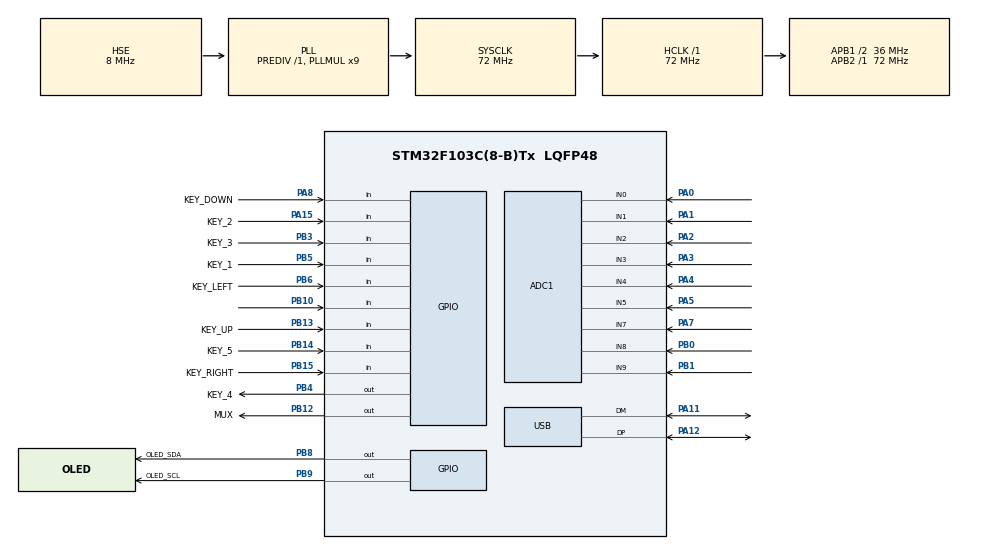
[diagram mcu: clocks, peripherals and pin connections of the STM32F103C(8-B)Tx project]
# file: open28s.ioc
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ADC1.Channel-0\#ChannelRegularConversion=ADC_CHANNEL_0
ADC1.Channel-1\#ChannelRegularConversion=ADC_CHANNEL_1
ADC1.Channel-2\#ChannelRegularConversion=ADC_CHANNEL_2
ADC1.Channel-3\#ChannelRegularConversion=ADC_CHANNEL_3
ADC1.Channel-4\#ChannelRegularConversion=ADC_CHANNEL_4
ADC1.Channel-5\#ChannelRegularConversion=ADC_CHANNEL_5
ADC1.Channel-6\#ChannelRegularConversion=ADC_CHANNEL_7
ADC1.Channel-7\#ChannelRegularConversion=ADC_CHANNEL_8
ADC1.Channel-8\#ChannelRegularConversion=ADC_CHANNEL_9
ADC1.ContinuousConvMode=ENABLE
ADC1.NbrOfConversion=9
ADC1.NbrOfConversionFlag=1
ADC1.Rank-0\#ChannelRegularConversion=1
ADC1.Rank-1\#ChannelRegularConversion=2
ADC1.Rank-2\#ChannelRegularConversion=3
ADC1.Rank-3\#ChannelRegularConversion=4
ADC1.Rank-4\#ChannelRegularConversion=5
ADC1.Rank-5\#ChannelRegularConversion=6
ADC1.Rank-6\#ChannelRegularConversion=7
ADC1.Rank-7\#ChannelRegularConversion=8
ADC1.Rank-8\#ChannelRegularConversion=9
ADC1.SamplingTime-0\#ChannelRegularConversion=ADC_SAMPLETIME_28CYCLES_5
ADC1.SamplingTime-1\#ChannelRegularConversion=ADC_SAMPLETIME_28CYCLES_5
ADC1.SamplingTime-2\#ChannelRegularConversion=ADC_SAMPLETIME_28CYCLES_5
ADC1.SamplingTime-3\#ChannelRegularConversion=ADC_SAMPLETIME_28CYCLES_5
ADC1.SamplingTime-4\#ChannelRegularConversion=ADC_SAMPLETIME_28CYCLES_5
ADC1.SamplingTime-5\#ChannelRegularConversion=ADC_SAMPLETIME_28CYCLES_5
ADC1.SamplingTime-6\#ChannelRegularConversion=ADC_SAMPLETIME_28CYCLES_5
ADC1.SamplingTime-7\#ChannelRegularConversion=ADC_SAMPLETIME_28CYCLES_5
ADC1.SamplingTime-8\#ChannelRegularConversion=ADC_SAMPLETIME_28CYCLES_5
ADC1.master=1
Dma.ADC1.0.Direction=DMA_PERIPH_TO_MEMORY
Dma.ADC1.0.Instance=DMA1_Channel1
Dma.ADC1.0.MemDataAlignment=DMA_MDATAALIGN_WORD
Dma.ADC1.0.MemInc=DMA_MINC_ENABLE
Dma.ADC1.0.Mode=DMA_CIRCULAR
Dma.ADC1.0.PeriphDataAlignment=DMA_PDATAALIGN_HALFWORD
Dma.ADC1.0.PeriphInc=DMA_PINC_DISABLE
Dma.ADC1.0.Priority=DMA_PRIORITY_LOW
Dma.Request0=ADC1
Mcu.Family=STM32F1
Mcu.Name=STM32F103C(8-B)Tx
Mcu.Package=LQFP48
NVIC.DMA1_Channel1_IRQn=true\:0\:0\:false\:false\:true\:false\:true\:true
NVIC.PriorityGroup=NVIC_PRIORITYGROUP_4
NVIC.TIM3_IRQn=true\:2\:0\:true\:false\:true\:true\:true\:true
NVIC.TIM4_IRQn=true\:1\:0\:true\:false\:true\:true\:true\:true
NVIC.USB_LP_CAN1_RX0_IRQn=true\:0\:0\:false\:false\:false\:true\:false\:true
PA0-WKUP.Signal=ADCx_IN0
PA1.Signal=ADCx_IN1
PA11.Mode=Device
PA11.Signal=USB_DM
PA12.Mode=Device
PA12.Signal=USB_DP
PA13.Mode=Serial_Wire
PA13.Signal=SYS_JTMS-SWDIO
PA14.Mode=Serial_Wire
PA14.Signal=SYS_JTCK-SWCLK
PA15.GPIO_Label=KEY_2
PA15.Signal=GPIO_Input
PA2.Signal=ADCx_IN2
PA3.Signal=ADCx_IN3
PA4.Signal=ADCx_IN4
PA5.Signal=ADCx_IN5
PA7.Signal=ADCx_IN7
PA8.GPIO_Label=KEY_DOWN
PA8.Signal=GPIO_Input
PB0.Signal=ADCx_IN8
PB1.Signal=ADCx_IN9
PB10.Signal=GPIO_Input
PB12.GPIO_Label=MUX
PB12.Signal=GPIO_Output
PB13.GPIO_Label=KEY_UP
PB13.Signal=GPIO_Input
PB14.GPIO_Label=KEY_5
PB14.Signal=GPIO_Input
PB15.GPIO_Label=KEY_RIGHT
PB15.Signal=GPIO_Input
PB3.GPIO_Label=KEY_3
PB3.Signal=GPIO_Input
PB4.GPIO_Label=KEY_4
PB4.Signal=GPIO_Output
PB5.GPIO_Label=KEY_1
PB5.Signal=GPIO_Input
PB6.GPIO_Label=KEY_LEFT
PB6.Signal=GPIO_Input
PB8.GPIO_Label=OLED_SDA
PB8.Signal=GPIO_Output
PB9.GPIO_Label=OLED_SCL
PB9.Signal=GPIO_Output
PD0-OSC_IN.Mode=HSE-External-Oscillator
PD0-OSC_IN.Signal=RCC_OSC_IN
PD1-OSC_OUT.Mode=HSE-External-Oscillator
PD1-OSC_OUT.Signal=RCC_OSC_OUT
ProjectManager.HeapSize=0x200
ProjectManager.StackSize=0x400
ProjectManager.TargetToolchain=CMake
RCC.ADCPresc=RCC_ADCPCLK2_DIV6
RCC.AHBFreq_Value=72000000
RCC.APB1CLKDivider=RCC_HCLK_DIV2
RCC.APB1Freq_Value=36000000
RCC.APB1TimFreq_Value=72000000
RCC.APB2Freq_Value=72000000
RCC.APB2TimFreq_Value=72000000
RCC.HCLKFreq_Value=72000000
RCC.PLLMUL=RCC_PLL_MUL9
RCC.PLLSourceVirtual=RCC_PLLSOURCE_HSE
RCC.SYSCLKFreq_VALUE=72000000
RCC.SYSCLKSource=RCC_SYSCLKSOURCE_PLLCLK
RCC.USBFreq_Value=48000000
RCC.USBPrescaler=RCC_USBCLKSOURCE_PLL_DIV1_5
SH.ADCx_IN0.0=ADC1_IN0,IN0
SH.ADCx_IN1.0=ADC1_IN1,IN1
SH.ADCx_IN2.0=ADC1_IN2,IN2
SH.ADCx_IN3.0=ADC1_IN3,IN3
SH.ADCx_IN4.0=ADC1_IN4,IN4
SH.ADCx_IN5.0=ADC1_IN5,IN5
SH.ADCx_IN7.0=ADC1_IN7,IN7
SH.ADCx_IN8.0=ADC1_IN8,IN8
SH.ADCx_IN9.0=ADC1_IN9,IN9
TIM3.Period=10000-1
TIM3.Prescaler=120-1
TIM4.AutoReloadPreload=TIM_AUTORELOAD_PRELOAD_ENABLE
TIM4.Period=10-1
TIM4.Prescaler=3600-1
VP_TIM3_VS_ClockSourceINT.Mode=Internal
VP_TIM4_VS_ClockSourceINT.Mode=Internal
VP_TIM4_VS_OPM.Mode=OPM_bit
board=custom

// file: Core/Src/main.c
/* USER CODE BEGIN Header */
/**
  ******************************************************************************
  * @file           : main.c
  * @brief          : Main program body
  ******************************************************************************
  * @attention
  *
  * Copyright (c) 2026 STMicroelectronics.
  * All rights reserved.
  *
  * This software is licensed under terms that can be found in the LICENSE file
  * in the root directory of this software component.
  * If no LICENSE file comes with this software, it is provided AS-IS.
  *
  ******************************************************************************
  */
/* USER CODE END Header */
#include "main.h"

/* USER CODE BEGIN Includes */
#include "keyboard.h"
#include "analog.h"
#include "usbd_user.h"
#include "fezui.h"
#include "fezui_var.h"
#include "record.h"
/* USER CODE END Includes */

/* USER CODE BEGIN PD */
#define ADC_BUFFER_LENGTH 9
#define ADC_CHANNEL_NUM 9
#define DMA_LENGTH (ADC_BUFFER_LENGTH*ADC_CHANNEL_NUM)
/* USER CODE END PD */

ADC_HandleTypeDef hadc1;
DMA_HandleTypeDef hdma_adc1;

TIM_HandleTypeDef htim3;
TIM_HandleTypeDef htim4;

void SystemClock_Config(void);
static void MX_GPIO_Init(void);
static void MX_DMA_Init(void);
static void MX_ADC1_Init(void);
static void MX_TIM4_Init(void);
static void MX_TIM3_Init(void);

/* USER CODE BEGIN 0 */

/**
 * @brief  初始化时间戳
 * @note   使用延时函数前，必须调用本函数
 */
int DWT_Init(void)
{
  /* Disable TRC */
  CoreDebug->DEMCR &= ~CoreDebug_DEMCR_TRCENA_Msk; // ~0x01000000;
  /* Enable TRC */
  CoreDebug->DEMCR |= CoreDebug_DEMCR_TRCENA_Msk; // 0x01000000;

  /* Disable clock cycle counter */
  DWT->CTRL &= ~DWT_CTRL_CYCCNTENA_Msk; //~0x00000001;
  /* Enable  clock cycle counter */
  DWT->CTRL |= DWT_CTRL_CYCCNTENA_Msk; // 0x00000001;

  /* Reset the clock cycle counter value */
  DWT->CYCCNT = 0;

  /* 3 NO OPERATION instructions */
  __ASM volatile("NOP");
  __ASM volatile("NOP");
  __ASM volatile("NOP");

  /* Check if clock cycle counter has started */
  if (DWT->CYCCNT)
  {
    return 0; /*clock cycle counter started*/
  }
  else
  {
    return 1; /*clock cycle counter not started*/
  }
}
// This Function Provides Delay In Microseconds Using DWT

void DWT_Delay_us(volatile uint32_t au32_microseconds)
{
  uint32_t au32_initial_ticks = DWT->CYCCNT;
  uint32_t au32_ticks = (HAL_RCC_GetHCLKFreq() / 1000000);
  au32_microseconds *= au32_ticks;
  while ((DWT->CYCCNT - au32_initial_ticks) < au32_microseconds - au32_ticks)
    ;
}

void HAL_PCD_MspInit(PCD_HandleTypeDef *hpcd)
{
  __HAL_RCC_USB_CLK_ENABLE();
  HAL_NVIC_SetPriority(USB_LP_CAN1_RX0_IRQn, 0, 0);
  HAL_NVIC_EnableIRQ(USB_LP_CAN1_RX0_IRQn);
}

#define U8LOG_WIDTH 24
#define U8LOG_HEIGHT 30
u8log_t g_u8log;
static uint8_t u8log_buffer[U8LOG_WIDTH * U8LOG_HEIGHT];
uint32_t adc_buffer[2][ADC_BUFFER_LENGTH*ADC_CHANNEL_NUM];
uint32_t debug;
uint32_t debug1;
uint32_t next_tick;

void HAL_ADC_ConvHalfCpltCallback(ADC_HandleTypeDef* hadc)
{
  HAL_GPIO_WritePin(MUX_GPIO_Port, MUX_Pin, GPIO_PIN_SET);
  uint32_t adc_buf[ADC_CHANNEL_NUM] = {0};
  for (int i = 1; i < ADC_BUFFER_LENGTH; i++)
  {
    adc_buf[0] += adc_buffer[0][i*ADC_CHANNEL_NUM+0];
    adc_buf[1] += adc_buffer[0][i*ADC_CHANNEL_NUM+1];
    adc_buf[2] += adc_buffer[0][i*ADC_CHANNEL_NUM+2];
    adc_buf[3] += adc_buffer[0][i*ADC_CHANNEL_NUM+3];
    adc_buf[4] += adc_buffer[0][i*ADC_CHANNEL_NUM+4];
    adc_buf[5] += adc_buffer[0][i*ADC_CHANNEL_NUM+5];
    adc_buf[6] += adc_buffer[0][i*ADC_CHANNEL_NUM+6];
    adc_buf[7] += adc_buffer[0][i*ADC_CHANNEL_NUM+7];
    adc_buf[8] += adc_buffer[0][i*ADC_CHANNEL_NUM+8];
  }
  ringbuf_push(&g_adc_ringbufs[0], adc_buf[0]/8);
  ringbuf_push(&g_adc_ringbufs[1], adc_buf[1]/8);
  ringbuf_push(&g_adc_ringbufs[2], adc_buf[2]/8);
  ringbuf_push(&g_adc_ringbufs[3], adc_buf[3]/8);
  ringbuf_push(&g_adc_ringbufs[4], adc_buf[4]/8);
  ringbuf_push(&g_adc_ringbufs[5], adc_buf[5]/8);
  ringbuf_push(&g_adc_ringbufs[6], adc_buf[6]/8);
  ringbuf_push(&g_adc_ringbufs[7], adc_buf[7]/8);
  ringbuf_push(&g_adc_ringbufs[8], adc_buf[8]/8);

}

void HAL_ADC_ConvCpltCallback(ADC_HandleTypeDef* hadc)
{
  HAL_GPIO_WritePin(MUX_GPIO_Port, MUX_Pin, GPIO_PIN_RESET);
  uint32_t adc_buf[ADC_CHANNEL_NUM] = {0};
  for (int i = 1; i < ADC_BUFFER_LENGTH; i++)
  {
    adc_buf[0] += adc_buffer[1][i*ADC_CHANNEL_NUM+0];
    adc_buf[1] += adc_buffer[1][i*ADC_CHANNEL_NUM+1];
    adc_buf[2] += adc_buffer[1][i*ADC_CHANNEL_NUM+2];
    adc_buf[3] += adc_buffer[1][i*ADC_CHANNEL_NUM+3];
    adc_buf[4] += adc_buffer[1][i*ADC_CHANNEL_NUM+4];
    adc_buf[5] += adc_buffer[1][i*ADC_CHANNEL_NUM+5];
    adc_buf[6] += adc_buffer[1][i*ADC_CHANNEL_NUM+6];
    adc_buf[7] += adc_buffer[1][i*ADC_CHANNEL_NUM+7];
    adc_buf[8] += adc_buffer[1][i*ADC_CHANNEL_NUM+8];
  }
  ringbuf_push(&g_adc_ringbufs[9+0], adc_buf[0]/8);
  ringbuf_push(&g_adc_ringbufs[9+1], adc_buf[1]/8);
  //ringbuf_push(&g_adc_ringbufs[9+2], adc_buf[2]/8);
  ringbuf_push(&g_adc_ringbufs[9+2], adc_buf[3]/8);
  ringbuf_push(&g_adc_ringbufs[9+3], adc_buf[4]/8);
  ringbuf_push(&g_adc_ringbufs[9+4], adc_buf[5]/8);
  ringbuf_push(&g_adc_ringbufs[9+5], adc_buf[6]/8);
  ringbuf_push(&g_adc_ringbufs[9+6], adc_buf[7]/8);
  ringbuf_push(&g_adc_ringbufs[9+7], adc_buf[8]/8);
}

void HAL_TIM_PeriodElapsedCallback(TIM_HandleTypeDef* htim)
{
  if (htim->Instance == TIM4)
  {
    keyboard_task();
  }
  if (htim->Instance == TIM3)
  {
    /*
    fezui_timer_handler();
    record_bit_stream_timer();
    record_kps_timer();
    static uint32_t next_tick;
    if (next_tick < g_keyboard_tick)
    {
      next_tick+=1000;
      sprintf(g_fpsstr, "%ld", g_fezui_fps);
      g_fezui_fps = 0;
      record_kps_history_timer();
      g_fezui_run_time++;
    }
    */
  }
}

void usbd_event_handler_user(uint8_t busid, uint8_t event)
{
    switch (event)
    {
    case USBD_EVENT_RESET:
        break;
    case USBD_EVENT_CONNECTED:
        break;
    case USBD_EVENT_DISCONNECTED:
        break;
    case USBD_EVENT_RESUME:
        break;
    case USBD_EVENT_SUSPEND:
        break;
    case USBD_EVENT_CONFIGURED:
        break;
    case USBD_EVENT_SET_REMOTE_WAKEUP:
        break;
    case USBD_EVENT_CLR_REMOTE_WAKEUP:
        break;
    case USBD_EVENT_SOF:
        HAL_TIM_Base_Stop_IT(&htim4);
        HAL_TIM_Base_Start_IT(&htim4);
        break;
    default:
        break;
    }
}
/* USER CODE END 0 */

int main(void)
{

  /* USER CODE BEGIN 1 */
  DWT_Init();
  u8log_Init(&g_u8log, U8LOG_WIDTH, U8LOG_HEIGHT, u8log_buffer);
  /* USER CODE END 1 */

  /* MCU Configuration--------------------------------------------------------*/

  /* Reset of all peripherals, Initializes the Flash interface and the Systick. */
  HAL_Init();

  /* Configure the system clock */
  SystemClock_Config();

  /* Initialize all configured peripherals */
  MX_GPIO_Init();
  MX_DMA_Init();
  MX_ADC1_Init();
  MX_TIM4_Init();
  MX_TIM3_Init();
  /* USER CODE BEGIN 2 */
  HAL_ADCEx_Calibration_Start(&hadc1);
  HAL_ADC_Start_DMA(&hadc1, (uint32_t*)adc_buffer, DMA_LENGTH*2);
  //HAL_GPIO_WritePin(KEY_BUS_GPIO_Port, KEY_BUS_Pin, GPIO_PIN_SET);

  for (int i = 0; i < ADVANCED_KEY_NUM; i++)
  {
    g_keyboard_advanced_keys[i].config.upper_bound = 2048;
  }

  //fezui_init();
  HAL_TIM_Base_Start_IT(&htim3);
  keyboard_init();
  usb_init(0, USB_BASE);
  analog_calibrate();
  /* USER CODE END 2 */

  /* Infinite loop */
  /* USER CODE BEGIN WHILE */
  while (1)
  {
    //fezui_render_handler();
    keyboard_process();
    /* USER CODE END WHILE */

  }
}

void SystemClock_Config(void)
{
  RCC_OscInitTypeDef RCC_OscInitStruct = {0};
  RCC_ClkInitTypeDef RCC_ClkInitStruct = {0};
  RCC_PeriphCLKInitTypeDef PeriphClkInit = {0};

  /** Initializes the RCC Oscillators according to the specified parameters
  * in the RCC_OscInitTypeDef structure.
  */
  RCC_OscInitStruct.OscillatorType = RCC_OSCILLATORTYPE_HSE;
  RCC_OscInitStruct.HSEState = RCC_HSE_ON;
  RCC_OscInitStruct.HSEPredivValue = RCC_HSE_PREDIV_DIV1;
  RCC_OscInitStruct.HSIState = RCC_HSI_ON;
  RCC_OscInitStruct.PLL.PLLState = RCC_PLL_ON;
  RCC_OscInitStruct.PLL.PLLSource = RCC_PLLSOURCE_HSE;
  RCC_OscInitStruct.PLL.PLLMUL = RCC_PLL_MUL9;
  if (HAL_RCC_OscConfig(&RCC_OscInitStruct) != HAL_OK)
  {
    Error_Handler();
  }

  /** Initializes the CPU, AHB and APB buses clocks
  */
  RCC_ClkInitStruct.ClockType = RCC_CLOCKTYPE_HCLK|RCC_CLOCKTYPE_SYSCLK
                              |RCC_CLOCKTYPE_PCLK1|RCC_CLOCKTYPE_PCLK2;
  RCC_ClkInitStruct.SYSCLKSource = RCC_SYSCLKSOURCE_PLLCLK;
  RCC_ClkInitStruct.AHBCLKDivider = RCC_SYSCLK_DIV1;
  RCC_ClkInitStruct.APB1CLKDivider = RCC_HCLK_DIV2;
  RCC_ClkInitStruct.APB2CLKDivider = RCC_HCLK_DIV1;

  if (HAL_RCC_ClockConfig(&RCC_ClkInitStruct, FLASH_LATENCY_2) != HAL_OK)
  {
    Error_Handler();
  }
  PeriphClkInit.PeriphClockSelection = RCC_PERIPHCLK_ADC|RCC_PERIPHCLK_USB;
  PeriphClkInit.AdcClockSelection = RCC_ADCPCLK2_DIV6;
  PeriphClkInit.UsbClockSelection = RCC_USBCLKSOURCE_PLL_DIV1_5;
  if (HAL_RCCEx_PeriphCLKConfig(&PeriphClkInit) != HAL_OK)
  {
    Error_Handler();
  }
}

static void MX_ADC1_Init(void)
{

  ADC_ChannelConfTypeDef sConfig = {0};

  /** Common config
  */
  hadc1.Instance = ADC1;
  hadc1.Init.ScanConvMode = ADC_SCAN_ENABLE;
  hadc1.Init.ContinuousConvMode = ENABLE;
  hadc1.Init.DiscontinuousConvMode = DISABLE;
  hadc1.Init.ExternalTrigConv = ADC_SOFTWARE_START;
  hadc1.Init.DataAlign = ADC_DATAALIGN_RIGHT;
  hadc1.Init.NbrOfConversion = 9;
  if (HAL_ADC_Init(&hadc1) != HAL_OK)
  {
    Error_Handler();
  }

  /** Configure Regular Channel
  */
  sConfig.Channel = ADC_CHANNEL_0;
  sConfig.Rank = ADC_REGULAR_RANK_1;
  sConfig.SamplingTime = ADC_SAMPLETIME_28CYCLES_5;
  if (HAL_ADC_ConfigChannel(&hadc1, &sConfig) != HAL_OK)
  {
    Error_Handler();
  }

  /** Configure Regular Channel
  */
  sConfig.Channel = ADC_CHANNEL_1;
  sConfig.Rank = ADC_REGULAR_RANK_2;
  if (HAL_ADC_ConfigChannel(&hadc1, &sConfig) != HAL_OK)
  {
    Error_Handler();
  }

  /** Configure Regular Channel
  */
  sConfig.Channel = ADC_CHANNEL_2;
  sConfig.Rank = ADC_REGULAR_RANK_3;
  if (HAL_ADC_ConfigChannel(&hadc1, &sConfig) != HAL_OK)
  {
    Error_Handler();
  }

  /** Configure Regular Channel
  */
  sConfig.Channel = ADC_CHANNEL_3;
  sConfig.Rank = ADC_REGULAR_RANK_4;
  if (HAL_ADC_ConfigChannel(&hadc1, &sConfig) != HAL_OK)
  {
    Error_Handler();
  }

  /** Configure Regular Channel
  */
  sConfig.Channel = ADC_CHANNEL_4;
  sConfig.Rank = ADC_REGULAR_RANK_5;
  if (HAL_ADC_ConfigChannel(&hadc1, &sConfig) != HAL_OK)
  {
    Error_Handler();
  }

  /** Configure Regular Channel
  */
  sConfig.Channel = ADC_CHANNEL_5;
  sConfig.Rank = ADC_REGULAR_RANK_6;
  if (HAL_ADC_ConfigChannel(&hadc1, &sConfig) != HAL_OK)
  {
    Error_Handler();
  }

  /** Configure Regular Channel
  */
  sConfig.Channel = ADC_CHANNEL_7;
  sConfig.Rank = ADC_REGULAR_RANK_7;
  if (HAL_ADC_ConfigChannel(&hadc1, &sConfig) != HAL_OK)
  {
    Error_Handler();
  }

  /** Configure Regular Channel
  */
  sConfig.Channel = ADC_CHANNEL_8;
  sConfig.Rank = ADC_REGULAR_RANK_8;
  if (HAL_ADC_ConfigChannel(&hadc1, &sConfig) != HAL_OK)
  {
    Error_Handler();
  }

  /** Configure Regular Channel
  */
  sConfig.Channel = ADC_CHANNEL_9;
  sConfig.Rank = ADC_REGULAR_RANK_9;
  if (HAL_ADC_ConfigChannel(&hadc1, &sConfig) != HAL_OK)
  {
    Error_Handler();
  }

}

static void MX_TIM3_Init(void)
{

  TIM_ClockConfigTypeDef sClockSourceConfig = {0};
  TIM_MasterConfigTypeDef sMasterConfig = {0};

  htim3.Instance = TIM3;
  htim3.Init.Prescaler = 120-1;
  htim3.Init.CounterMode = TIM_COUNTERMODE_UP;
  htim3.Init.Period = 10000-1;
  htim3.Init.ClockDivision = TIM_CLOCKDIVISION_DIV1;
  htim3.Init.AutoReloadPreload = TIM_AUTORELOAD_PRELOAD_DISABLE;
  if (HAL_TIM_Base_Init(&htim3) != HAL_OK)
  {
    Error_Handler();
  }
  sClockSourceConfig.ClockSource = TIM_CLOCKSOURCE_INTERNAL;
  if (HAL_TIM_ConfigClockSource(&htim3, &sClockSourceConfig) != HAL_OK)
  {
    Error_Handler();
  }
  sMasterConfig.MasterOutputTrigger = TIM_TRGO_RESET;
  sMasterConfig.MasterSlaveMode = TIM_MASTERSLAVEMODE_DISABLE;
  if (HAL_TIMEx_MasterConfigSynchronization(&htim3, &sMasterConfig) != HAL_OK)
  {
    Error_Handler();
  }

}

static void MX_TIM4_Init(void)
{

  TIM_ClockConfigTypeDef sClockSourceConfig = {0};
  TIM_MasterConfigTypeDef sMasterConfig = {0};

  htim4.Instance = TIM4;
  htim4.Init.Prescaler = 3600-1;
  htim4.Init.CounterMode = TIM_COUNTERMODE_UP;
  htim4.Init.Period = 10-1;
  htim4.Init.ClockDivision = TIM_CLOCKDIVISION_DIV1;
  htim4.Init.AutoReloadPreload = TIM_AUTORELOAD_PRELOAD_ENABLE;
  if (HAL_TIM_Base_Init(&htim4) != HAL_OK)
  {
    Error_Handler();
  }
  sClockSourceConfig.ClockSource = TIM_CLOCKSOURCE_INTERNAL;
  if (HAL_TIM_ConfigClockSource(&htim4, &sClockSourceConfig) != HAL_OK)
  {
    Error_Handler();
  }
  if (HAL_TIM_OnePulse_Init(&htim4, TIM_OPMODE_SINGLE) != HAL_OK)
  {
    Error_Handler();
  }
  sMasterConfig.MasterOutputTrigger = TIM_TRGO_RESET;
  sMasterConfig.MasterSlaveMode = TIM_MASTERSLAVEMODE_DISABLE;
  if (HAL_TIMEx_MasterConfigSynchronization(&htim4, &sMasterConfig) != HAL_OK)
  {
    Error_Handler();
  }

}

static void MX_DMA_Init(void)
{

  /* DMA controller clock enable */
  __HAL_RCC_DMA1_CLK_ENABLE();

  /* DMA interrupt init */
  /* DMA1_Channel1_IRQn interrupt configuration */
  HAL_NVIC_SetPriority(DMA1_Channel1_IRQn, 0, 0);
  HAL_NVIC_EnableIRQ(DMA1_Channel1_IRQn);

}

static void MX_GPIO_Init(void)
{
  GPIO_InitTypeDef GPIO_InitStruct = {0};

  /* GPIO Ports Clock Enable */
  __HAL_RCC_GPIOD_CLK_ENABLE();
  __HAL_RCC_GPIOA_CLK_ENABLE();
  __HAL_RCC_GPIOB_CLK_ENABLE();

  /*Configure GPIO pin Output Level */
  HAL_GPIO_WritePin(GPIOB, MUX_Pin|KEY_4_Pin|OLED_SDA_Pin|OLED_SCL_Pin, GPIO_PIN_RESET);

  /*Configure GPIO pins : PB10 KEY_UP_Pin KEY_5_Pin KEY_RIGHT_Pin
                           KEY_3_Pin KEY_1_Pin KEY_LEFT_Pin */
  GPIO_InitStruct.Pin = GPIO_PIN_10|KEY_UP_Pin|KEY_5_Pin|KEY_RIGHT_Pin
                          |KEY_3_Pin|KEY_1_Pin|KEY_LEFT_Pin;
  GPIO_InitStruct.Mode = GPIO_MODE_INPUT;
  GPIO_InitStruct.Pull = GPIO_NOPULL;
  HAL_GPIO_Init(GPIOB, &GPIO_InitStruct);

  /*Configure GPIO pins : MUX_Pin KEY_4_Pin OLED_SDA_Pin OLED_SCL_Pin */
  GPIO_InitStruct.Pin = MUX_Pin|KEY_4_Pin|OLED_SDA_Pin|OLED_SCL_Pin;
  GPIO_InitStruct.Mode = GPIO_MODE_OUTPUT_PP;
  GPIO_InitStruct.Pull = GPIO_NOPULL;
  GPIO_InitStruct.Speed = GPIO_SPEED_FREQ_LOW;
  HAL_GPIO_Init(GPIOB, &GPIO_InitStruct);

  /*Configure GPIO pins : KEY_DOWN_Pin KEY_2_Pin */
  GPIO_InitStruct.Pin = KEY_DOWN_Pin|KEY_2_Pin;
  GPIO_InitStruct.Mode = GPIO_MODE_INPUT;
  GPIO_InitStruct.Pull = GPIO_NOPULL;
  HAL_GPIO_Init(GPIOA, &GPIO_InitStruct);

}

void Error_Handler(void)
{
  __disable_irq();
  while (1)
  {
  }
}
